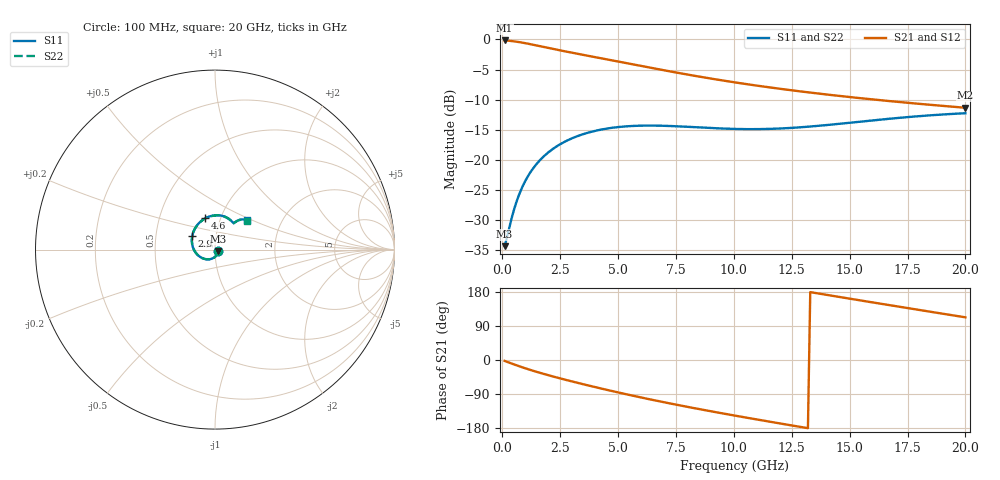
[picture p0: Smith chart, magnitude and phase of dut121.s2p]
! Touchstone file exported from HFSS 2024.1.0
!  File:  C:/UserFiles/LocalFiles/RDL_TSV_Batchsim/temp_RDL_TSV_121_1779424870.aedt
!  Generated:  12:54:53 PM May 22, 2026
!  Design:  RDL_TSV
!  Project:  temp_RDL_TSV_121_1779424870
!  Setup:  Setup1
!  Solution:  Sweep
! Variables:
!  dtsv = 14.8um
!  hbump = 3um
!  htsv = 94.27um
!  ldown = 644.87um
!  lrdl = 346.07um
!  p = 40
!  p1 = 47.23um
!  rhole = 10um
!  subl = 3318.89um
!  t = 450um
!  tdown = 2.93um
!  trdl = 2.1um
!  viad = 10um
!  wdown = 24.2um
!  wrdl = 29.88um
!  xbump = 18um
# GHz S MA R 50.000000
! Terminal data exported
! Port[1] = TM1_1_T1
! Port[2] = TM1_4_T1
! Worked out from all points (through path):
!   200 points, 100 MHz to 20 GHz, reference 50 ohm
!   highest |S21| = -0.17 dB at 100 MHz (marker M1); lowest = -11.4 dB at 20 GHz (marker M2)
!   group delay of S21, straight-line fit = 32.5 ps
!   lowest |S11| = -34.4 dB at 100 MHz (marker M3), VSWR 1.04, Z = 51.8 - j0.784 ohm
!   |S11| at or under -10 dB: start of sweep to end of sweep
!   |S22| runs from -34.4 to -12.3 dB; largest |S21 - S12| = 2e-14
!   S11 on the Smith chart (normalised r, x): 100 MHz: 1.04, -0.02; 2.9 GHz: 0.77, +0.12; 4.6 GHz: 0.85, +0.31; 20 GHz: 1.35, +0.47
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0.1  0.01915 -23.3  0.9811 -2.4  0.9811 -2.4  0.01915 -23.3
! Gamma 0 0 0 0
! Port Impedance 50 0 50 0
0.4  0.0325 -74.3  0.9703 -9.3  0.9703 -9.3  0.03251 -74.3
0.6  0.04399 -95.5  0.9592 -13.7  0.9592 -13.7  0.044 -95.5
0.8  0.05568 -112.0  0.9459 -17.9  0.9459 -17.9  0.05568 -112.0
1.1  0.0726 -132.3  0.923 -24.0  0.923 -24.0  0.07258 -132.2
1.5  0.09326 -154.7  0.89 -31.6  0.89 -31.6  0.09318 -154.5
1.9  0.1115 -173.5  0.8573 -38.7  0.8573 -38.7  0.1114 -173.4
2.4  0.1311 166.4  0.8188 -47.0  0.8188 -47.0  0.1309 166.5
2.9  0.1476 149.3  0.7834 -54.9  0.7834 -54.9  0.1471 149.5
3.5  0.1635 132.0  0.7441 -64.0  0.7441 -64.0  0.1629 132.2
4.6  0.1828 107.1  0.6779 -80.0  0.6779 -80.0  0.1819 107.2
5.7  0.1913 88.7  0.6173 -95.0  0.6173 -95.0  0.1903 88.8
6.8  0.1921 75.3  0.5627 -109.2  0.5627 -109.2  0.1909 75.4
7.6  0.1897 68.2  0.5272 -119.0  0.5272 -119.0  0.1884 68.2
8.4  0.1863 62.9  0.4952 -128.4  0.4952 -128.4  0.185 63.0
10.1  0.1804 56.7  0.4382 -147.4  0.4382 -147.4  0.1791 56.7
11.7  0.181 54.7  0.3959 -164.4  0.3959 -164.4  0.1797 54.7
13.4  0.1897 53.8  0.3599 178.1  0.3599 178.1  0.1884 53.8
15.1  0.2041 52.2  0.3307 160.9  0.3307 160.9  0.2028 52.2
16.7  0.2192 49.6  0.3078 144.9  0.3078 144.9  0.2178 49.6
18.3  0.2328 46.2  0.2883 129.2  0.2883 129.2  0.2314 46.1
20  0.2438 42.1  0.2707 112.6  0.2707 112.6  0.2423 42.0
